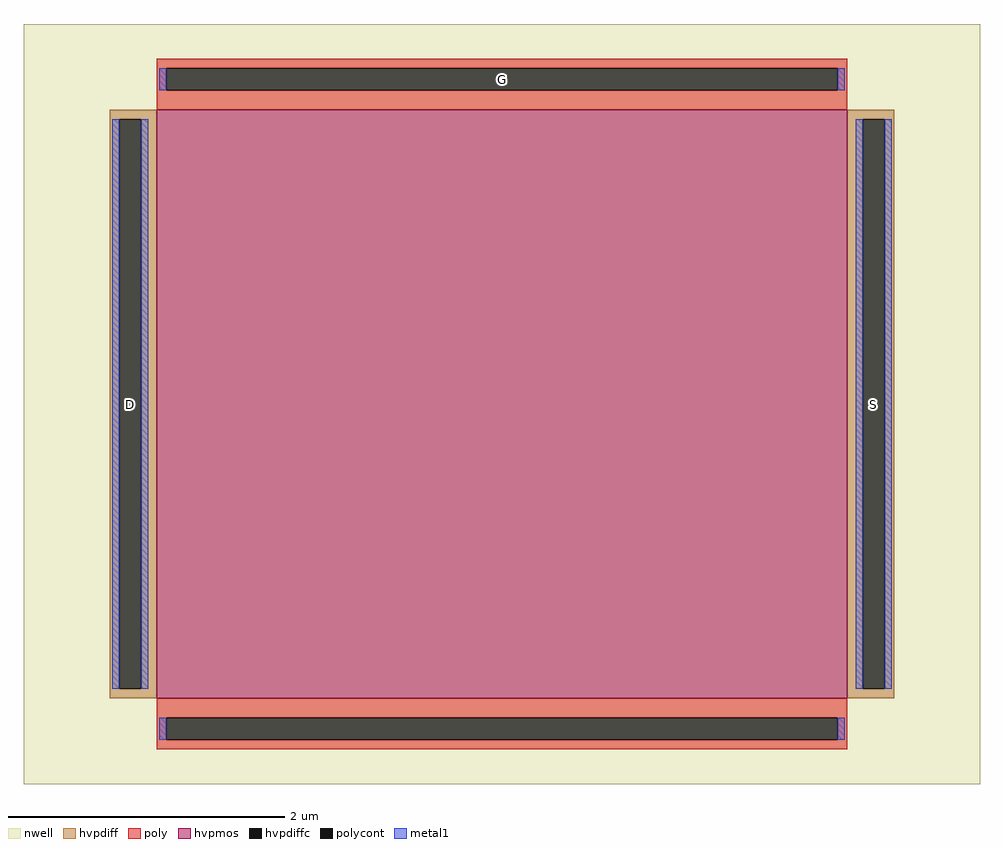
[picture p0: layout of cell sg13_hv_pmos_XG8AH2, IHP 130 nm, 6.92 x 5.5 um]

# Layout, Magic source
magic
tech ihp-sg13cmos5l
<< nwell >>
rect -346 -275 346 275
<< hvpmos >>
rect -250 -213 250 213
<< hvpdiff >>
rect -284 206 -250 213
rect -284 -206 -277 206
rect -261 -206 -250 206
rect -284 -213 -250 -206
rect 250 206 284 213
rect 250 -206 261 206
rect 277 -206 284 206
rect 250 -213 284 -206
<< hvpdiffc >>
rect -277 -206 -261 206
rect 261 -206 277 206
<< poly >>
rect -250 243 250 250
rect -250 227 -243 243
rect 243 227 250 243
rect -250 213 250 227
rect -250 -227 250 -213
rect -250 -243 -243 -227
rect 243 -243 250 -227
rect -250 -250 250 -243
<< polycont >>
rect -243 227 243 243
rect -243 -243 243 -227
<< metal1 >>
rect -248 227 -243 243
rect 243 227 248 243
rect -282 -206 -277 206
rect -261 -206 -256 206
rect 256 -206 261 206
rect 277 -206 282 206
rect -248 -243 -243 -227
rect 243 -243 248 -227
<< labels >>
rlabel hvpdiffc -269 0 -269 0 0 D
port 10 nsew
rlabel hvpdiffc 269 0 269 0 0 S
port 11 nsew
rlabel polycont 0 235 0 235 0 G
port 12 nsew
<< properties >>
string gencell sg13_hv_pmos
string library sg13cmos5l
string parameters w 4.26 l 5.0 m 1 ng 1 diffcov 100 polycov 100 guard 0 glc 1 grc 1 gtc 1 gbc 1 tbcov 100 rlcov 100 topc 1 botc 1 poverlap 0 doverlap 1 lmin 0.4 wmin 0.15 class mosfet compatible {sg13_lv_pmos sg13_hv_pmos} full_metal 1 conn_gates 0 gate_ring 0 ccols 1 viasrc 0 viadrn 0 viagate 0 viagb 0 viagr 0 viagl 0 viagt 0 doports 1
<< end >>
